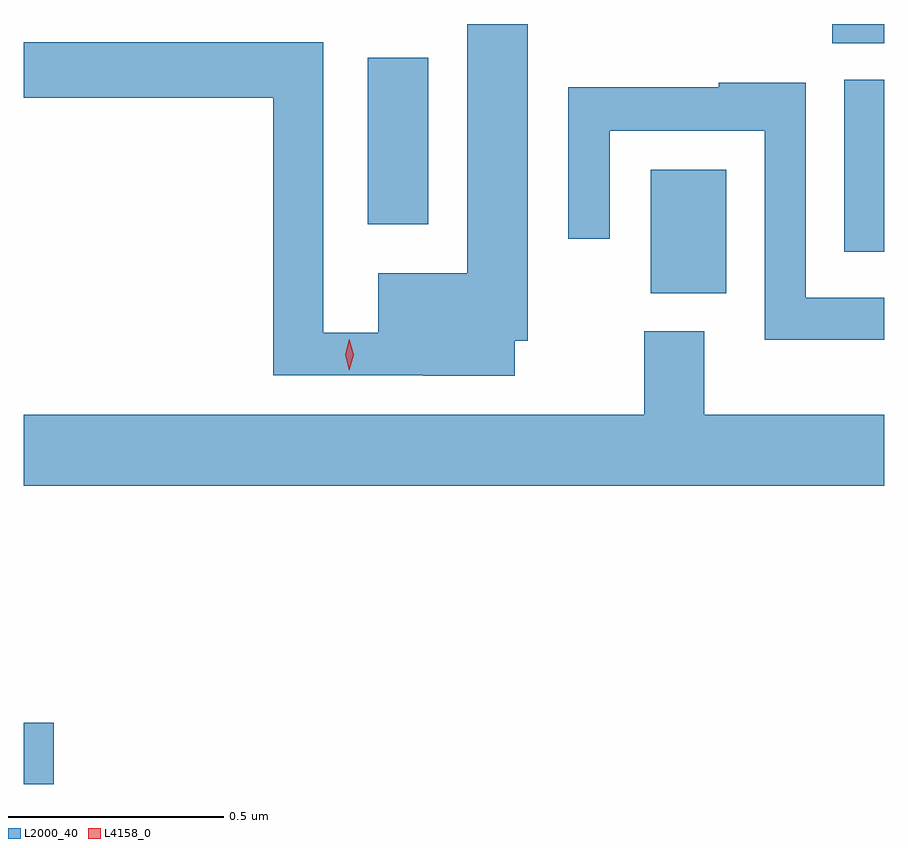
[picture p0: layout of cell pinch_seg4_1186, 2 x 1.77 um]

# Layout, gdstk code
import gdstk
lib = gdstk.Library(unit=1e-6, precision=1e-09)
def R(c, l, rs):  # rectangles x0, y0, x1, y1
    for r in rs: c.add(gdstk.rectangle(r[:2], r[2:], *l))
def P(c, l, *ps):  # polygons
    for p in ps: c.add(gdstk.Polygon(p, *l))
L2000_40 = (2000, 40)
L4158_0 = (4158, 0)

pinch_seg4_1186 = lib.new_cell('pinch_seg4_1186')
R(pinch_seg4_1186, L2000_40, [(457.815,772.15,457.885,772.292), (459.272,773.291,459.448,773.578), (459.722,773.388,459.815,773.787), (458.615,773.451,458.755,773.839), (459.694,773.872,459.815,773.917)])
P(pinch_seg4_1186, L2000_40, [(458.956,773.18),(458.986,773.18),(458.986,773.917),(458.846,773.917),(458.846,773.338),(458.639,773.338),(458.639,773.199),(458.511,773.199),(458.511,773.875),(457.815,773.875),(457.815,773.746),(458.395,773.746),(458.395,773.1),(458.743,773.1),(458.743,773.099),(458.956,773.099)],
  [(459.815,773.28),(459.633,773.28),(459.633,773.78),(459.43,773.78),(459.43,773.77),(459.081,773.77),(459.081,773.418),(459.177,773.418),(459.177,773.669),(459.537,773.669),(459.537,773.183),(459.815,773.183)],
  [(459.815,773.008),(459.397,773.008),(459.397,773.203),(459.257,773.203),(459.257,773.008),(457.815,773.008),(457.815,772.844),(459.815,772.844)])
P(pinch_seg4_1186, L4158_0, [(458.571,773.112),(458.571,773.112),(458.562,773.148),(458.572,773.184),(458.572,773.184),(458.572,773.184),(458.582,773.148),(458.571,773.112)])

lib.write_gds('pinch_seg4_1186.gds')
